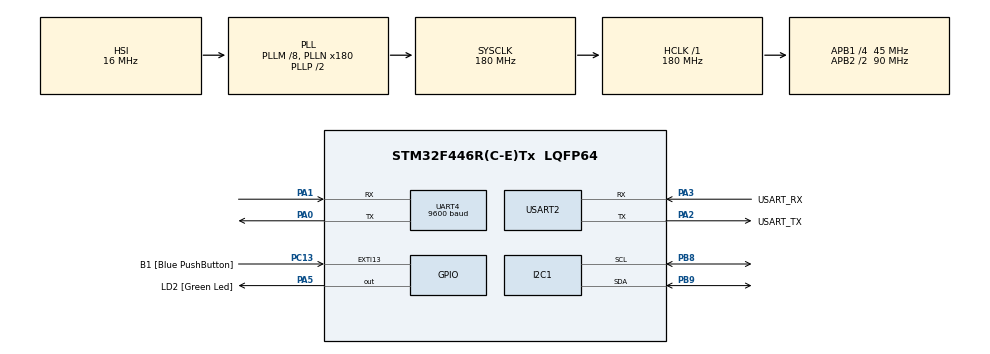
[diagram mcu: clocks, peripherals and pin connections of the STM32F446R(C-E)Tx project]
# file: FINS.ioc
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I2C1.I2C_Mode=I2C_Standard
Mcu.Family=STM32F4
Mcu.Name=STM32F446R(C-E)Tx
Mcu.Package=LQFP64
NVIC.PriorityGroup=NVIC_PRIORITYGROUP_4
PA0-WKUP.Mode=Asynchronous
PA0-WKUP.Signal=UART4_TX
PA1.Mode=Asynchronous
PA1.Signal=UART4_RX
PA13.GPIO_Label=TMS
PA13.Mode=Serial_Wire
PA13.Signal=SYS_JTMS-SWDIO
PA14.GPIO_Label=TCK
PA14.Mode=Serial_Wire
PA14.Signal=SYS_JTCK-SWCLK
PA2.GPIO_Label=USART_TX
PA2.Mode=Asynchronous
PA2.Signal=USART2_TX
PA3.GPIO_Label=USART_RX
PA3.Mode=Asynchronous
PA3.Signal=USART2_RX
PA5.GPIO_Label=LD2 [Green Led]
PA5.Signal=GPIO_Output
PB3.GPIO_Label=SWO
PB3.Signal=SYS_JTDO-SWO
PB8.Mode=I2C
PB8.Signal=I2C1_SCL
PB9.Mode=I2C
PB9.Signal=I2C1_SDA
PC13.GPIO_Label=B1 [Blue PushButton]
PC13.GPIO_ModeDefaultEXTI=GPIO_MODE_IT_FALLING
PC13.Signal=GPXTI13
PC14-OSC32_IN.Mode=LSE-External-Oscillator
PC14-OSC32_IN.Signal=RCC_OSC32_IN
PC15-OSC32_OUT.Mode=LSE-External-Oscillator
PC15-OSC32_OUT.Signal=RCC_OSC32_OUT
PH0-OSC_IN.Mode=HSE-External-Oscillator
PH0-OSC_IN.Signal=RCC_OSC_IN
PH1-OSC_OUT.Mode=HSE-External-Oscillator
PH1-OSC_OUT.Signal=RCC_OSC_OUT
ProjectManager.HeapSize=0x200
ProjectManager.StackSize=0x400
ProjectManager.TargetToolchain=STM32CubeIDE
RCC.48MHZClocksFreq_Value=84000000
RCC.AHBFreq_Value=180000000
RCC.APB1CLKDivider=RCC_HCLK_DIV4
RCC.APB1Freq_Value=45000000
RCC.APB1TimFreq_Value=90000000
RCC.APB2CLKDivider=RCC_HCLK_DIV2
RCC.APB2Freq_Value=90000000
RCC.APB2TimFreq_Value=180000000
RCC.CortexFreq_Value=180000000
RCC.FLatency-AdvancedSettings=FLASH_LATENCY_5
RCC.HCLKFreq_Value=180000000
RCC.HSE_VALUE=8000000
RCC.HSI_VALUE=16000000
RCC.PLLM=8
RCC.PLLN=180
RCC.SYSCLKFreq_VALUE=180000000
RCC.SYSCLKSource=RCC_SYSCLKSOURCE_PLLCLK
RCC.USBFreq_Value=180000000
RCC.VCOOutputFreq_Value=360000000
UART4.BaudRate=9600
UART4.VirtualMode=Asynchronous
USART2.VirtualMode=VM_ASYNC
board=NUCLEO-F446RE

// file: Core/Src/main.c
/* USER CODE BEGIN Header */
/**
  ******************************************************************************
  * @file           : main.c
  * @brief          : Main program body
  ******************************************************************************
  * @attention
  *
  * Copyright (c) 2023 STMicroelectronics.
  * All rights reserved.
  *
  * This software is licensed under terms that can be found in the LICENSE file
  * in the root directory of this software component.
  * If no LICENSE file comes with this software, it is provided AS-IS.
  *
  ******************************************************************************
  */
/* USER CODE END Header */
#include "main.h"

/* USER CODE BEGIN Includes */
#include "math.h"
#include "stdio.h"
#include "application.hpp"
/* USER CODE END Includes */

I2C_HandleTypeDef hi2c1;

UART_HandleTypeDef huart4;
UART_HandleTypeDef huart2;

void SystemClock_Config(void);
static void MX_GPIO_Init(void);
static void MX_USART2_UART_Init(void);
static void MX_I2C1_Init(void);
static void MX_UART4_Init(void);
/* USER CODE BEGIN PFP */
int _write(int file, char *ptr, int len)
{
  /* Implement your write code here. This is
     used by puts and printf for example */
  int i=0;
  for(i=0 ; i<len ; i++)
    ITM_SendChar((*ptr++));
  return len;
}
/* USER CODE END PFP */

/* USER CODE BEGIN 0 */
static const uint16_t ACCEL_ADDR = 0x18 << 1;
static const uint8_t ACC_CHIP_ID = 0x00;
// write 0x00 for OFF, 0x04 for ON
static const uint8_t ACC_PWR_CTRL = 0x7D;
static const uint8_t ACC_RANGE = 0x41;

static const uint16_t GYRO_ADDR = 0x68 << 1;
static const uint8_t GYRO_CHIP_ID = 0x00;
static const uint8_t GYRO_RANGE = 0x0F;
static const uint16_t GYRO_RANGE_CONVERSION[] = { 2000, 1000, 500, 250, 125 };
static const uint8_t GYRO_BANDWIDTH = 0x10;

HAL_StatusTypeDef ret;
uint8_t buf[12];
int16_t val;
/* USER CODE END 0 */

int main(void)
{

  /* MCU Configuration--------------------------------------------------------*/

  /* Reset of all peripherals, Initializes the Flash interface and the Systick. */
  HAL_Init();

  /* Configure the system clock */
  SystemClock_Config();

  /* Initialize all configured peripherals */
  MX_GPIO_Init();
  MX_USART2_UART_Init();
  MX_I2C1_Init();
  MX_UART4_Init();
  /* USER CODE BEGIN 2 */
  char textBuffer[256];

  // Short delay for devices to initialize
  HAL_Delay(1000U);

  uint8_t onCommand[] = {ACC_PWR_CTRL, 0x04};
  ret = HAL_I2C_Master_Transmit(&hi2c1, ACCEL_ADDR, onCommand, 2, HAL_MAX_DELAY);
  if ( ret != HAL_OK ) {
	printf("Error Tx: %i %s\n", ret, (char*)buf);
  }

  HAL_Delay(50U);

  for(int i=1; i<128; i++)
	{
	  ret = HAL_I2C_IsDeviceReady(&hi2c1, (uint16_t)(i<<1), 3, 5);
	  if(ret == HAL_OK)
	  {
		  printf("Heard 0x%X; %i\n", i, i);
	  }
	}

  uint8_t accelRange;
  uint8_t gyroRange;
  // Read accel range register
  ret = HAL_I2C_Mem_Read(&hi2c1, ACCEL_ADDR, ACC_RANGE, I2C_MEMADD_SIZE_8BIT, &accelRange, 1, HAL_MAX_DELAY);
  if(ret != HAL_OK)
	{
		printf("Error Tx: %i %s\n", ret, (char*)buf);
	}
  printf("accel range: 0x%X\n", accelRange);

  uint8_t newGyroRange = 0x02;
  ret = HAL_I2C_Mem_Write(&hi2c1, GYRO_ADDR, GYRO_RANGE, I2C_MEMADD_SIZE_8BIT, &newGyroRange, 1, HAL_MAX_DELAY);
  if(ret != HAL_OK)
	{
		printf("Error Tx: %i %s\n", ret, (char*)buf);
	}

  uint8_t newGyroBandwidth = 0x07;
  ret = HAL_I2C_Mem_Write(&hi2c1, GYRO_ADDR, GYRO_BANDWIDTH, I2C_MEMADD_SIZE_8BIT, &newGyroBandwidth, 1, HAL_MAX_DELAY);
    if(ret != HAL_OK)
  	{
  		printf("Error Tx: %i %s\n", ret, (char*)buf);
  	}

  ret = HAL_I2C_Mem_Read(&hi2c1, GYRO_ADDR, GYRO_RANGE, I2C_MEMADD_SIZE_8BIT, &gyroRange, 1, HAL_MAX_DELAY);
    if(ret != HAL_OK)
  	{
  		printf("Error Tx: %i %s\n", ret, (char*)buf);
  	}
    float gyroConversion = GYRO_RANGE_CONVERSION[gyroRange] / 32767.0;
    printf("gyro range: 0x%X, conversion %f\n", gyroRange, gyroConversion);

  unsigned long loopCount = 0;
  const unsigned long LOOPDELAY = 100;

  /* USER CODE END 2 */

  /* Infinite loop */
  while (1)
  {

    /* USER CODE BEGIN 3 */
    int16_t x, y, z;
    for(int i = 0; i < 6; ++i)
    {
        ret = HAL_I2C_Mem_Read(&hi2c1, ACCEL_ADDR, 0x12+i, I2C_MEMADD_SIZE_8BIT, &buf[i], 1, HAL_MAX_DELAY);
        if(ret != HAL_OK)
        {
        	printf("Error Tx: %i %s\n", ret, (char*)buf);
        }
    }

    x = buf[1]*256 + buf[0];
    y = buf[3]*256 + buf[2];
    z = buf[5]*256 + buf[4];

    float accelX, accelY, accelZ;

    accelX = x/32768.0 * pow(2.0, accelRange + 1.0) * 1.5;
    accelY = y/32768.0 * pow(2.0, accelRange + 1.0) * 1.5;
    accelZ = z/32768.0 * pow(2.0, accelRange + 1.0) * 1.5;

    for(int i = 0; i < 6; ++i)
    {
    	ret = HAL_I2C_Mem_Read(&hi2c1, GYRO_ADDR, 0x02+i, I2C_MEMADD_SIZE_8BIT, &buf[i], 1, HAL_MAX_DELAY);
		if(ret != HAL_OK)
		{
			printf("Error Tx: %i %s\n", ret, (char*)buf);
		}
    }

    x = buf[1]*256 + buf[0];
	y = buf[3]*256 + buf[2];
	z = buf[5]*256 + buf[4];

	float gyroX, gyroY, gyroZ;

	gyroX = x * gyroConversion;
	gyroY = y * gyroConversion;
	gyroZ = z * gyroConversion;

    int size = snprintf(textBuffer, sizeof(textBuffer),
    		"{ \"accel\": {\"X\":%f, \"Y\":%f, \"Z\":%f}, \"gyro\": {\"X\":%f, \"Y\":%f, \"Z\":%f}, \"time\": %lu}\n",
    		accelX, accelY, accelZ, gyroX, gyroY, gyroZ, loopCount++ * LOOPDELAY);
    HAL_UART_Transmit(&huart4, textBuffer, size, HAL_MAX_DELAY);

	HAL_Delay(LOOPDELAY);
  }
  /* USER CODE END 3 */
}

void SystemClock_Config(void)
{
  RCC_OscInitTypeDef RCC_OscInitStruct = {0};
  RCC_ClkInitTypeDef RCC_ClkInitStruct = {0};

  /** Configure the main internal regulator output voltage
  */
  __HAL_RCC_PWR_CLK_ENABLE();
  __HAL_PWR_VOLTAGESCALING_CONFIG(PWR_REGULATOR_VOLTAGE_SCALE1);

  /** Initializes the RCC Oscillators according to the specified parameters
  * in the RCC_OscInitTypeDef structure.
  */
  RCC_OscInitStruct.OscillatorType = RCC_OSCILLATORTYPE_HSI;
  RCC_OscInitStruct.HSIState = RCC_HSI_ON;
  RCC_OscInitStruct.HSICalibrationValue = RCC_HSICALIBRATION_DEFAULT;
  RCC_OscInitStruct.PLL.PLLState = RCC_PLL_ON;
  RCC_OscInitStruct.PLL.PLLSource = RCC_PLLSOURCE_HSI;
  RCC_OscInitStruct.PLL.PLLM = 8;
  RCC_OscInitStruct.PLL.PLLN = 180;
  RCC_OscInitStruct.PLL.PLLP = RCC_PLLP_DIV2;
  RCC_OscInitStruct.PLL.PLLQ = 2;
  RCC_OscInitStruct.PLL.PLLR = 2;
  if (HAL_RCC_OscConfig(&RCC_OscInitStruct) != HAL_OK)
  {
    Error_Handler();
  }

  /** Activate the Over-Drive mode
  */
  if (HAL_PWREx_EnableOverDrive() != HAL_OK)
  {
    Error_Handler();
  }

  /** Initializes the CPU, AHB and APB buses clocks
  */
  RCC_ClkInitStruct.ClockType = RCC_CLOCKTYPE_HCLK|RCC_CLOCKTYPE_SYSCLK
                              |RCC_CLOCKTYPE_PCLK1|RCC_CLOCKTYPE_PCLK2;
  RCC_ClkInitStruct.SYSCLKSource = RCC_SYSCLKSOURCE_PLLCLK;
  RCC_ClkInitStruct.AHBCLKDivider = RCC_SYSCLK_DIV1;
  RCC_ClkInitStruct.APB1CLKDivider = RCC_HCLK_DIV4;
  RCC_ClkInitStruct.APB2CLKDivider = RCC_HCLK_DIV2;

  if (HAL_RCC_ClockConfig(&RCC_ClkInitStruct, FLASH_LATENCY_5) != HAL_OK)
  {
    Error_Handler();
  }
}

static void MX_I2C1_Init(void)
{

  hi2c1.Instance = I2C1;
  hi2c1.Init.ClockSpeed = 100000;
  hi2c1.Init.DutyCycle = I2C_DUTYCYCLE_2;
  hi2c1.Init.OwnAddress1 = 0;
  hi2c1.Init.AddressingMode = I2C_ADDRESSINGMODE_7BIT;
  hi2c1.Init.DualAddressMode = I2C_DUALADDRESS_DISABLE;
  hi2c1.Init.OwnAddress2 = 0;
  hi2c1.Init.GeneralCallMode = I2C_GENERALCALL_DISABLE;
  hi2c1.Init.NoStretchMode = I2C_NOSTRETCH_DISABLE;
  if (HAL_I2C_Init(&hi2c1) != HAL_OK)
  {
    Error_Handler();
  }

}

static void MX_UART4_Init(void)
{

  huart4.Instance = UART4;
  huart4.Init.BaudRate = 9600;
  huart4.Init.WordLength = UART_WORDLENGTH_8B;
  huart4.Init.StopBits = UART_STOPBITS_1;
  huart4.Init.Parity = UART_PARITY_NONE;
  huart4.Init.Mode = UART_MODE_TX_RX;
  huart4.Init.HwFlowCtl = UART_HWCONTROL_NONE;
  huart4.Init.OverSampling = UART_OVERSAMPLING_16;
  if (HAL_UART_Init(&huart4) != HAL_OK)
  {
    Error_Handler();
  }

}

static void MX_USART2_UART_Init(void)
{

  huart2.Instance = USART2;
  huart2.Init.BaudRate = 115200;
  huart2.Init.WordLength = UART_WORDLENGTH_8B;
  huart2.Init.StopBits = UART_STOPBITS_1;
  huart2.Init.Parity = UART_PARITY_NONE;
  huart2.Init.Mode = UART_MODE_TX_RX;
  huart2.Init.HwFlowCtl = UART_HWCONTROL_NONE;
  huart2.Init.OverSampling = UART_OVERSAMPLING_16;
  if (HAL_UART_Init(&huart2) != HAL_OK)
  {
    Error_Handler();
  }

}

static void MX_GPIO_Init(void)
{
  GPIO_InitTypeDef GPIO_InitStruct = {0};

  /* GPIO Ports Clock Enable */
  __HAL_RCC_GPIOC_CLK_ENABLE();
  __HAL_RCC_GPIOH_CLK_ENABLE();
  __HAL_RCC_GPIOA_CLK_ENABLE();
  __HAL_RCC_GPIOB_CLK_ENABLE();

  /*Configure GPIO pin Output Level */
  HAL_GPIO_WritePin(LD2_GPIO_Port, LD2_Pin, GPIO_PIN_RESET);

  /*Configure GPIO pin : B1_Pin */
  GPIO_InitStruct.Pin = B1_Pin;
  GPIO_InitStruct.Mode = GPIO_MODE_IT_FALLING;
  GPIO_InitStruct.Pull = GPIO_NOPULL;
  HAL_GPIO_Init(B1_GPIO_Port, &GPIO_InitStruct);

  /*Configure GPIO pin : LD2_Pin */
  GPIO_InitStruct.Pin = LD2_Pin;
  GPIO_InitStruct.Mode = GPIO_MODE_OUTPUT_PP;
  GPIO_InitStruct.Pull = GPIO_NOPULL;
  GPIO_InitStruct.Speed = GPIO_SPEED_FREQ_LOW;
  HAL_GPIO_Init(LD2_GPIO_Port, &GPIO_InitStruct);

}

void Error_Handler(void)
{
  __disable_irq();
  while (1)
  {
  }
}
